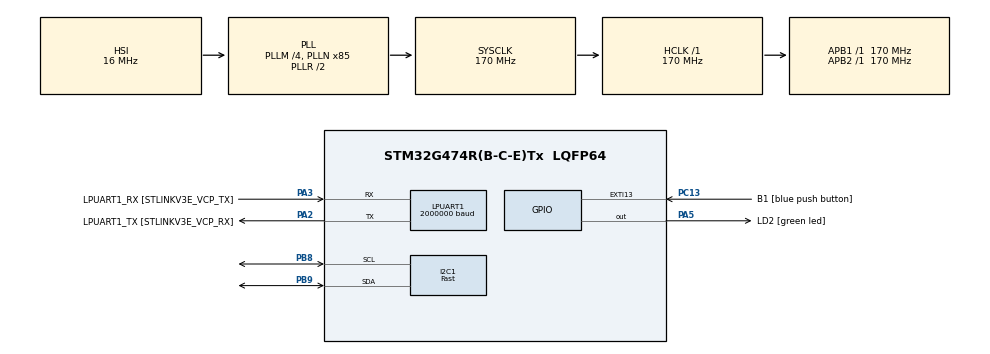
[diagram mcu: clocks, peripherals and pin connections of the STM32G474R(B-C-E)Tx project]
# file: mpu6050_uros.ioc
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Dma.LPUART1_RX.0.Direction=DMA_PERIPH_TO_MEMORY
Dma.LPUART1_RX.0.EventEnable=DISABLE
Dma.LPUART1_RX.0.Instance=DMA1_Channel1
Dma.LPUART1_RX.0.MemDataAlignment=DMA_MDATAALIGN_BYTE
Dma.LPUART1_RX.0.MemInc=DMA_MINC_ENABLE
Dma.LPUART1_RX.0.Mode=DMA_CIRCULAR
Dma.LPUART1_RX.0.PeriphDataAlignment=DMA_PDATAALIGN_BYTE
Dma.LPUART1_RX.0.PeriphInc=DMA_PINC_DISABLE
Dma.LPUART1_RX.0.Polarity=HAL_DMAMUX_REQ_GEN_RISING
Dma.LPUART1_RX.0.Priority=DMA_PRIORITY_VERY_HIGH
Dma.LPUART1_RX.0.RequestNumber=1
Dma.LPUART1_RX.0.SignalID=NONE
Dma.LPUART1_RX.0.SyncEnable=DISABLE
Dma.LPUART1_RX.0.SyncPolarity=HAL_DMAMUX_SYNC_NO_EVENT
Dma.LPUART1_RX.0.SyncRequestNumber=1
Dma.LPUART1_RX.0.SyncSignalID=NONE
Dma.LPUART1_TX.1.Direction=DMA_MEMORY_TO_PERIPH
Dma.LPUART1_TX.1.EventEnable=DISABLE
Dma.LPUART1_TX.1.Instance=DMA1_Channel2
Dma.LPUART1_TX.1.MemDataAlignment=DMA_MDATAALIGN_BYTE
Dma.LPUART1_TX.1.MemInc=DMA_MINC_ENABLE
Dma.LPUART1_TX.1.Mode=DMA_NORMAL
Dma.LPUART1_TX.1.PeriphDataAlignment=DMA_PDATAALIGN_BYTE
Dma.LPUART1_TX.1.PeriphInc=DMA_PINC_DISABLE
Dma.LPUART1_TX.1.Polarity=HAL_DMAMUX_REQ_GEN_RISING
Dma.LPUART1_TX.1.Priority=DMA_PRIORITY_VERY_HIGH
Dma.LPUART1_TX.1.RequestNumber=1
Dma.LPUART1_TX.1.SignalID=NONE
Dma.LPUART1_TX.1.SyncEnable=DISABLE
Dma.LPUART1_TX.1.SyncPolarity=HAL_DMAMUX_SYNC_NO_EVENT
Dma.LPUART1_TX.1.SyncRequestNumber=1
Dma.LPUART1_TX.1.SyncSignalID=NONE
Dma.Request0=LPUART1_RX
Dma.Request1=LPUART1_TX
FREERTOS.Tasks01=defaultTask,24,3000,StartDefaultTask,Default,NULL,Static,defaultTaskBuffer,defaultTaskControlBlock
FREERTOS.configENABLE_FPU=1
I2C1.I2C_Speed_Mode=I2C_Fast
I2C1.Timing=0x40621236
IWDG.Reload=2499
LPUART1.BaudRate=2000000
Mcu.Family=STM32G4
Mcu.Name=STM32G474R(B-C-E)Tx
Mcu.Package=LQFP64
NVIC.DMA1_Channel1_IRQn=true\:5\:0\:false\:false\:true\:true\:false\:true\:true
NVIC.DMA1_Channel2_IRQn=true\:5\:0\:false\:false\:true\:true\:false\:true\:true
NVIC.EXTI15_10_IRQn=true\:5\:0\:false\:false\:true\:true\:true\:true\:true
NVIC.LPUART1_IRQn=true\:5\:0\:false\:false\:true\:true\:true\:true\:true
NVIC.PriorityGroup=NVIC_PRIORITYGROUP_4
NVIC.TIM1_UP_TIM16_IRQn=true\:15\:0\:false\:false\:true\:false\:false\:true\:true
NVIC.TimeBase=TIM1_UP_TIM16_IRQn
NVIC.TimeBaseIP=TIM1
PA13.GPIO_Label=T_SWDIO
PA13.Signal=SYS_JTMS-SWDIO
PA14.GPIO_Label=T_SWCLK
PA14.Signal=SYS_JTCK-SWCLK
PA2.GPIO_Label=LPUART1_TX [STLINKV3E_VCP_RX]
PA2.Mode=Asynchronous
PA2.Signal=LPUART1_TX
PA3.GPIO_Label=LPUART1_RX [STLINKV3E_VCP_TX]
PA3.Mode=Asynchronous
PA3.Signal=LPUART1_RX
PA5.GPIO_Label=LD2 [green led]
PA5.Signal=GPIO_Output
PB3.GPIO_Label=T_SWO
PB3.Signal=SYS_JTDO-SWO
PB8-BOOT0.Mode=I2C
PB8-BOOT0.Signal=I2C1_SCL
PB9.Mode=I2C
PB9.Signal=I2C1_SDA
PC13.GPIO_Label=B1 [blue push button]
PC13.Signal=GPXTI13
PC14-OSC32_IN.GPIO_Label=RCC_OSC32_IN
PC14-OSC32_IN.Signal=RCC_OSC32_IN
PC15-OSC32_OUT.GPIO_Label=RCC_OSC32_OUT
PC15-OSC32_OUT.Signal=RCC_OSC32_OUT
PF0-OSC_IN.GPIO_Label=RCC_OSC_IN
PF0-OSC_IN.Signal=RCC_OSC_IN
PF1-OSC_OUT.GPIO_Label=RCC_OSC_OUT
PF1-OSC_OUT.Signal=RCC_OSC_OUT
ProjectManager.HeapSize=0x200
ProjectManager.StackSize=0x400
ProjectManager.TargetToolchain=STM32CubeIDE
RCC.ADC12Freq_Value=170000000
RCC.ADC345Freq_Value=170000000
RCC.AHBFreq_Value=170000000
RCC.APB1Freq_Value=170000000
RCC.APB1TimFreq_Value=170000000
RCC.APB2Freq_Value=170000000
RCC.APB2TimFreq_Value=170000000
RCC.CortexFreq_Value=170000000
RCC.EXTERNAL_CLOCK_VALUE=12288000
RCC.HCLKFreq_Value=170000000
RCC.HSE_VALUE=24000000
RCC.HSI48_VALUE=48000000
RCC.HSI_VALUE=16000000
RCC.LSE_VALUE=32768
RCC.PLLM=RCC_PLLM_DIV4
RCC.PLLN=85
RCC.RTCClockSelection=RCC_RTCCLKSOURCE_LSE
RCC.SYSCLKFreq_VALUE=170000000
RCC.SYSCLKSource=RCC_SYSCLKSOURCE_PLLCLK
RCC.USBFreq_Value=170000000
RCC.VCOOutputFreq_Value=340000000
VP_FREERTOS_VS_CMSIS_V2.Mode=CMSIS_V2
VP_IWDG_VS_IWDG.Mode=IWDG_Activate
VP_SYS_VS_DBSignals.Mode=DisableDeadBatterySignals
VP_SYS_VS_tim1.Mode=TIM1
board=NUCLEO-G474RE

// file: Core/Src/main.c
/* USER CODE BEGIN Header */
/**
  ******************************************************************************
  * @file           : main.c
  * @brief          : Main program body
  ******************************************************************************
  * @attention
  *
  * Copyright (c) 2024 STMicroelectronics.
  * All rights reserved.
  *
  * This software is licensed under terms that can be found in the LICENSE file
  * in the root directory of this software component.
  * If no LICENSE file comes with this software, it is provided AS-IS.
  *
  ******************************************************************************
  */
/* USER CODE END Header */
#include "main.h"
#include "cmsis_os.h"

/* USER CODE BEGIN Includes */
#include <rcl/rcl.h>
#include <rcl/error_handling.h>
#include <rclc/rclc.h>
#include <rclc/executor.h>
#include <uxr/client/transport.h>
#include <rmw_microxrcedds_c/config.h>
#include <rmw_microros/rmw_microros.h>
#include <micro_ros_utilities/string_utilities.h>
#include <math.h>

#include <imu_interfaces/srv/imu_calibration.h>
#include <sensor_msgs/msg/imu.h>
#include <geometry_msgs/msg/twist.h>
#include <std_srvs/srv/set_bool.h>
#include <mpu6050.h>
#include "KalmanSensorFusion.h"
/* USER CODE END Includes */

typedef StaticTask_t osStaticThreadDef_t;
/* USER CODE BEGIN PTD */
typedef struct{
	double x;
	double y;
	double z;
} offset3d_t;
/* USER CODE END PTD */

/* USER CODE BEGIN PD */
#define G2M_S2 9.81
#define DEG2RAD M_PI/180.0
/* USER CODE END PD */

/* USER CODE BEGIN PM */
#define RCSOFTCHECK(fn) if (fn != RCL_RET_OK) {};
/* USER CODE END PM */

I2C_HandleTypeDef hi2c1;

IWDG_HandleTypeDef hiwdg;

UART_HandleTypeDef hlpuart1;
DMA_HandleTypeDef hdma_lpuart1_rx;
DMA_HandleTypeDef hdma_lpuart1_tx;

/* Definitions for defaultTask */
osThreadId_t defaultTaskHandle;
uint32_t defaultTaskBuffer[ 3000 ];
osStaticThreadDef_t defaultTaskControlBlock;
const osThreadAttr_t defaultTask_attributes = {
  .name = "defaultTask",
  .stack_mem = &defaultTaskBuffer[0],
  .stack_size = sizeof(defaultTaskBuffer),
  .cb_mem = &defaultTaskControlBlock,
  .cb_size = sizeof(defaultTaskControlBlock),
  .priority = (osPriority_t) osPriorityNormal,
};
/* USER CODE BEGIN PV */
rclc_support_t support;
rcl_allocator_t allocator;
rcl_node_t node;
rcl_init_options_t init_options;
rclc_executor_t executor;

rcl_timer_t mpu6050_timer;
rcl_publisher_t mpu6050_publisher;
sensor_msgs__msg__Imu mpu6050_msg;

rcl_publisher_t cmdvel_publisher;
geometry_msgs__msg__Twist cmdvel_msg;

MPU6050_t MPU6050;

rcl_service_t mpu6050_service;
imu_interfaces__srv__ImuCalibration_Response mpu6050_response;
imu_interfaces__srv__ImuCalibration_Request mpu6050_request;

rcl_service_t imustatus_service;
std_srvs__srv__SetBool_Request imustatus_response;
std_srvs__srv__SetBool_Response imustatus_request;

offset3d_t accel_offset;
offset3d_t gyro_offset;

bool is_calib = false;

SensorFusion imu;
matrix_instance u;
matrix_instance y;
float U[2];
float Y[2];
float dt = 0.01;
float angle[2];
/* USER CODE END PV */

void SystemClock_Config(void);
static void MX_GPIO_Init(void);
static void MX_DMA_Init(void);
static void MX_LPUART1_UART_Init(void);
static void MX_I2C1_Init(void);
static void MX_IWDG_Init(void);
void StartDefaultTask(void *argument);

/* USER CODE BEGIN PFP */
void timer_callback(rcl_timer_t * timer, int64_t last_call_time);
/* USER CODE END PFP */

int main(void)
{

  /* MCU Configuration--------------------------------------------------------*/

  /* Reset of all peripherals, Initializes the Flash interface and the Systick. */
  HAL_Init();

  /* Configure the system clock */
  SystemClock_Config();

  /* Initialize all configured peripherals */
  MX_GPIO_Init();
  MX_DMA_Init();
  MX_LPUART1_UART_Init();
  MX_I2C1_Init();
  MX_IWDG_Init();
  /* USER CODE BEGIN 2 */
  while (MPU6050_Init(&hi2c1) == 1);
  /* USER CODE END 2 */

  /* Init scheduler */
  osKernelInitialize();

  /* Create the thread(s) */
  /* creation of defaultTask */
  defaultTaskHandle = osThreadNew(StartDefaultTask, NULL, &defaultTask_attributes);

  /* Start scheduler */
  osKernelStart();

  /* We should never get here as control is now taken by the scheduler */

  /* Infinite loop */
  while (1)
  {

  }
}

void SystemClock_Config(void)
{
  RCC_OscInitTypeDef RCC_OscInitStruct = {0};
  RCC_ClkInitTypeDef RCC_ClkInitStruct = {0};

  /** Configure the main internal regulator output voltage
  */
  HAL_PWREx_ControlVoltageScaling(PWR_REGULATOR_VOLTAGE_SCALE1_BOOST);

  /** Initializes the RCC Oscillators according to the specified parameters
  * in the RCC_OscInitTypeDef structure.
  */
  RCC_OscInitStruct.OscillatorType = RCC_OSCILLATORTYPE_HSI|RCC_OSCILLATORTYPE_LSI;
  RCC_OscInitStruct.HSIState = RCC_HSI_ON;
  RCC_OscInitStruct.HSICalibrationValue = RCC_HSICALIBRATION_DEFAULT;
  RCC_OscInitStruct.LSIState = RCC_LSI_ON;
  RCC_OscInitStruct.PLL.PLLState = RCC_PLL_ON;
  RCC_OscInitStruct.PLL.PLLSource = RCC_PLLSOURCE_HSI;
  RCC_OscInitStruct.PLL.PLLM = RCC_PLLM_DIV4;
  RCC_OscInitStruct.PLL.PLLN = 85;
  RCC_OscInitStruct.PLL.PLLP = RCC_PLLP_DIV2;
  RCC_OscInitStruct.PLL.PLLQ = RCC_PLLQ_DIV2;
  RCC_OscInitStruct.PLL.PLLR = RCC_PLLR_DIV2;
  if (HAL_RCC_OscConfig(&RCC_OscInitStruct) != HAL_OK)
  {
    Error_Handler();
  }

  /** Initializes the CPU, AHB and APB buses clocks
  */
  RCC_ClkInitStruct.ClockType = RCC_CLOCKTYPE_HCLK|RCC_CLOCKTYPE_SYSCLK
                              |RCC_CLOCKTYPE_PCLK1|RCC_CLOCKTYPE_PCLK2;
  RCC_ClkInitStruct.SYSCLKSource = RCC_SYSCLKSOURCE_PLLCLK;
  RCC_ClkInitStruct.AHBCLKDivider = RCC_SYSCLK_DIV1;
  RCC_ClkInitStruct.APB1CLKDivider = RCC_HCLK_DIV1;
  RCC_ClkInitStruct.APB2CLKDivider = RCC_HCLK_DIV1;

  if (HAL_RCC_ClockConfig(&RCC_ClkInitStruct, FLASH_LATENCY_4) != HAL_OK)
  {
    Error_Handler();
  }
}

static void MX_I2C1_Init(void)
{

  hi2c1.Instance = I2C1;
  hi2c1.Init.Timing = 0x40621236;
  hi2c1.Init.OwnAddress1 = 0;
  hi2c1.Init.AddressingMode = I2C_ADDRESSINGMODE_7BIT;
  hi2c1.Init.DualAddressMode = I2C_DUALADDRESS_DISABLE;
  hi2c1.Init.OwnAddress2 = 0;
  hi2c1.Init.OwnAddress2Masks = I2C_OA2_NOMASK;
  hi2c1.Init.GeneralCallMode = I2C_GENERALCALL_DISABLE;
  hi2c1.Init.NoStretchMode = I2C_NOSTRETCH_DISABLE;
  if (HAL_I2C_Init(&hi2c1) != HAL_OK)
  {
    Error_Handler();
  }

  /** Configure Analogue filter
  */
  if (HAL_I2CEx_ConfigAnalogFilter(&hi2c1, I2C_ANALOGFILTER_ENABLE) != HAL_OK)
  {
    Error_Handler();
  }

  /** Configure Digital filter
  */
  if (HAL_I2CEx_ConfigDigitalFilter(&hi2c1, 0) != HAL_OK)
  {
    Error_Handler();
  }

}

static void MX_IWDG_Init(void)
{

  hiwdg.Instance = IWDG;
  hiwdg.Init.Prescaler = IWDG_PRESCALER_4;
  hiwdg.Init.Window = 4095;
  hiwdg.Init.Reload = 2499;
  if (HAL_IWDG_Init(&hiwdg) != HAL_OK)
  {
    Error_Handler();
  }

}

static void MX_LPUART1_UART_Init(void)
{

  hlpuart1.Instance = LPUART1;
  hlpuart1.Init.BaudRate = 2000000;
  hlpuart1.Init.WordLength = UART_WORDLENGTH_8B;
  hlpuart1.Init.StopBits = UART_STOPBITS_1;
  hlpuart1.Init.Parity = UART_PARITY_NONE;
  hlpuart1.Init.Mode = UART_MODE_TX_RX;
  hlpuart1.Init.HwFlowCtl = UART_HWCONTROL_NONE;
  hlpuart1.Init.OneBitSampling = UART_ONE_BIT_SAMPLE_DISABLE;
  hlpuart1.Init.ClockPrescaler = UART_PRESCALER_DIV1;
  hlpuart1.AdvancedInit.AdvFeatureInit = UART_ADVFEATURE_NO_INIT;
  if (HAL_UART_Init(&hlpuart1) != HAL_OK)
  {
    Error_Handler();
  }
  if (HAL_UARTEx_SetTxFifoThreshold(&hlpuart1, UART_TXFIFO_THRESHOLD_1_8) != HAL_OK)
  {
    Error_Handler();
  }
  if (HAL_UARTEx_SetRxFifoThreshold(&hlpuart1, UART_RXFIFO_THRESHOLD_1_8) != HAL_OK)
  {
    Error_Handler();
  }
  if (HAL_UARTEx_DisableFifoMode(&hlpuart1) != HAL_OK)
  {
    Error_Handler();
  }

}

static void MX_DMA_Init(void)
{

  /* DMA controller clock enable */
  __HAL_RCC_DMAMUX1_CLK_ENABLE();
  __HAL_RCC_DMA1_CLK_ENABLE();

  /* DMA interrupt init */
  /* DMA1_Channel1_IRQn interrupt configuration */
  HAL_NVIC_SetPriority(DMA1_Channel1_IRQn, 5, 0);
  HAL_NVIC_EnableIRQ(DMA1_Channel1_IRQn);
  /* DMA1_Channel2_IRQn interrupt configuration */
  HAL_NVIC_SetPriority(DMA1_Channel2_IRQn, 5, 0);
  HAL_NVIC_EnableIRQ(DMA1_Channel2_IRQn);

}

static void MX_GPIO_Init(void)
{
  GPIO_InitTypeDef GPIO_InitStruct = {0};

  /* GPIO Ports Clock Enable */
  __HAL_RCC_GPIOC_CLK_ENABLE();
  __HAL_RCC_GPIOF_CLK_ENABLE();
  __HAL_RCC_GPIOA_CLK_ENABLE();
  __HAL_RCC_GPIOB_CLK_ENABLE();

  /*Configure GPIO pin Output Level */
  HAL_GPIO_WritePin(LD2_GPIO_Port, LD2_Pin, GPIO_PIN_RESET);

  /*Configure GPIO pin : B1_Pin */
  GPIO_InitStruct.Pin = B1_Pin;
  GPIO_InitStruct.Mode = GPIO_MODE_IT_RISING;
  GPIO_InitStruct.Pull = GPIO_NOPULL;
  HAL_GPIO_Init(B1_GPIO_Port, &GPIO_InitStruct);

  /*Configure GPIO pin : LD2_Pin */
  GPIO_InitStruct.Pin = LD2_Pin;
  GPIO_InitStruct.Mode = GPIO_MODE_OUTPUT_PP;
  GPIO_InitStruct.Pull = GPIO_NOPULL;
  GPIO_InitStruct.Speed = GPIO_SPEED_FREQ_LOW;
  HAL_GPIO_Init(LD2_GPIO_Port, &GPIO_InitStruct);

  /* EXTI interrupt init*/
  HAL_NVIC_SetPriority(EXTI15_10_IRQn, 5, 0);
  HAL_NVIC_EnableIRQ(EXTI15_10_IRQn);

}

/* USER CODE BEGIN 4 */
bool cubemx_transport_open(struct uxrCustomTransport * transport);
bool cubemx_transport_close(struct uxrCustomTransport * transport);
size_t cubemx_transport_write(struct uxrCustomTransport* transport, const uint8_t * buf, size_t len, uint8_t * err);
size_t cubemx_transport_read(struct uxrCustomTransport* transport, uint8_t* buf, size_t len, int timeout, uint8_t* err);

void * microros_allocate(size_t size, void * state);
void microros_deallocate(void * pointer, void * state);
void * microros_reallocate(void * pointer, size_t size, void * state);
void * microros_zero_allocate(size_t number_of_elements, size_t size_of_element, void * state);

void timer_callback(rcl_timer_t * timer, int64_t last_call_time)
{
	HAL_IWDG_Refresh(&hiwdg);
	if (timer != NULL) {
		static float temp = 0;
		MPU6050_Read_All(&hi2c1, &MPU6050);

		mpu6050_msg.header.stamp.sec = rmw_uros_epoch_millis()/1000;
		mpu6050_msg.header.stamp.nanosec = rmw_uros_epoch_nanos();

		mpu6050_msg.linear_acceleration.x = (G2M_S2 * MPU6050.Ax) - accel_offset.x;
		mpu6050_msg.linear_acceleration.y = (G2M_S2 * MPU6050.Ay) - accel_offset.y;
		mpu6050_msg.linear_acceleration.z = (G2M_S2 * MPU6050.Az) - accel_offset.z;
		mpu6050_msg.angular_velocity.x = (DEG2RAD * MPU6050.Gx) - gyro_offset.x;
		mpu6050_msg.angular_velocity.y = (DEG2RAD * MPU6050.Gy) - gyro_offset.y;
		mpu6050_msg.angular_velocity.z = (DEG2RAD * MPU6050.Gz) - gyro_offset.z;

		RCSOFTCHECK(rcl_publish(&mpu6050_publisher, &mpu6050_msg, NULL));

		U[0] = mpu6050_msg.angular_velocity.x;
		U[1] = mpu6050_msg.angular_velocity.y;
		Y[0] = atan2(mpu6050_msg.linear_acceleration.y, mpu6050_msg.linear_acceleration.z);
		temp = sqrt(pow(mpu6050_msg.linear_acceleration.y, 2)+pow(mpu6050_msg.linear_acceleration.z, 2));
		Y[1] = atan2(-mpu6050_msg.linear_acceleration.x, temp);
		init_matrix(&u, 2, 1, U);
		init_matrix(&y, 2, 1, Y);
		sensor_fusion(&imu, &u, &y);
		angle[0] = imu.Xc.data[0][0];
		angle[1] = imu.Xc.data[1][0];

		cmdvel_msg.linear.x = angle[1];
		cmdvel_msg.angular.z = -angle[0];

		RCSOFTCHECK(rcl_publish(&cmdvel_publisher, &cmdvel_msg, NULL));
	}
}

void service_callback(const void * request_msg, void * response_msg)
{
	  imu_interfaces__srv__ImuCalibration_Request * req_in = (imu_interfaces__srv__ImuCalibration_Request *) request_msg;
	  imu_interfaces__srv__ImuCalibration_Response * res_in = (imu_interfaces__srv__ImuCalibration_Response *) response_msg;

	  for(int i = 0; i < 9; i++){
		  mpu6050_msg.linear_acceleration_covariance[i] = req_in->imu_calib.linear_acceleration_covariance[i];
		  mpu6050_msg.angular_velocity_covariance[i] = req_in->imu_calib.angular_velocity_covariance[i];
	  }

	  accel_offset.x = req_in->imu_calib.linear_acceleration.x;
	  accel_offset.y = req_in->imu_calib.linear_acceleration.y;
	  accel_offset.z = req_in->imu_calib.linear_acceleration.z;

	  gyro_offset.x = req_in->imu_calib.angular_velocity.x;
	  gyro_offset.y = req_in->imu_calib.angular_velocity.y;
	  gyro_offset.z = req_in->imu_calib.angular_velocity.z;

	  is_calib = true;
	  InitSensorFusion(&imu, mpu6050_msg.angular_velocity_covariance, mpu6050_msg.linear_acceleration_covariance, dt);
	  HAL_GPIO_TogglePin(LD2_GPIO_Port, LD2_Pin);
	  res_in->success = true;
}

void imu_service_callback(const void * request_msg, void * response_msg)
{
	  std_srvs__srv__SetBool_Request * req_in = (std_srvs__srv__SetBool_Request *) request_msg;
	  std_srvs__srv__SetBool_Response * res_in = (std_srvs__srv__SetBool_Response *) response_msg;

	  if (req_in->data){
		  if (HAL_I2C_GetError(&hi2c1) == HAL_I2C_ERROR_NONE){
			  res_in->success = true;
			  res_in->message.data = "Imu is connected";
		  }
		  else {
			  res_in->success = false;
			  res_in->message.data = "Imu is not connect";
			  HAL_I2C_DeInit(&hi2c1);
			  HAL_I2C_Init(&hi2c1);
			  MPU6050_Init(&hi2c1);
		  }
	  }
	  else {
		  res_in->success = false;
		  res_in->message.data = "Request is False";
	  }
}
/* USER CODE END 4 */

void StartDefaultTask(void *argument)
{
  /* USER CODE BEGIN 5 */

	// micro-ROS configuration

	  rmw_uros_set_custom_transport(
	    true,
	    (void *) &hlpuart1,
	    cubemx_transport_open,
	    cubemx_transport_close,
	    cubemx_transport_write,
	    cubemx_transport_read);

	  rcl_allocator_t freeRTOS_allocator = rcutils_get_zero_initialized_allocator();
	  freeRTOS_allocator.allocate = microros_allocate;
	  freeRTOS_allocator.deallocate = microros_deallocate;
	  freeRTOS_allocator.reallocate = microros_reallocate;
	  freeRTOS_allocator.zero_allocate =  microros_zero_allocate;

	  if (!rcutils_set_default_allocator(&freeRTOS_allocator)) {
	      printf("Error on default allocators (line %d)\n", __LINE__);
	  }

	  GPIO_PinState button = HAL_GPIO_ReadPin(B1_GPIO_Port, B1_Pin);
	  uint8_t executor_num = 2;

	  // micro-ROS app

	  // Initialize micro-ROS allocator
	  allocator = rcl_get_default_allocator();

	  //create init_options
	  // Initialize and modify options (Set DOMAIN ID to 1)
	  init_options = rcl_get_zero_initialized_init_options();
	  RCSOFTCHECK(rcl_init_options_init(&init_options, allocator));
	  RCSOFTCHECK(rcl_init_options_set_domain_id(&init_options, 1));
	  // Initialize rclc support object with custom options
	  rclc_support_init_with_options(&support, 0, NULL, &init_options, &allocator);

	  // create node
	  rclc_node_init_default(&node, "cubemx_node", "", &support);

	  //time sync
	  rmw_uros_sync_session(1000);

	  //create timer
	  rclc_timer_init_default(&mpu6050_timer, &support, RCL_MS_TO_NS(10), timer_callback);

	  //create publisher
	  rclc_publisher_init_default(
			  &mpu6050_publisher,
			  &node,
			  ROSIDL_GET_MSG_TYPE_SUPPORT(sensor_msgs, msg, Imu),
			  "mpu6050_publisher"
	  );
	  rclc_publisher_init_default(
			  &cmdvel_publisher,
			  &node,
			  ROSIDL_GET_MSG_TYPE_SUPPORT(geometry_msgs, msg, Twist),
			  "cmd_vel"
	  );

	  //create service
	  if(button == GPIO_PIN_RESET){
		  rclc_service_init_default(
				  &mpu6050_service,
				  &node,
				  ROSIDL_GET_SRV_TYPE_SUPPORT(imu_interfaces, srv, ImuCalibration),
				  "mpu6050_calibration"
		  );
		  executor_num++;
	  }
	  else {
		  is_calib = true;
		  InitSensorFusion(&imu, mpu6050_msg.angular_velocity_covariance, mpu6050_msg.linear_acceleration_covariance, dt);
	  }

	  rclc_service_init_default(
			  &imustatus_service,
			  &node,
			  ROSIDL_GET_SRV_TYPE_SUPPORT(std_srvs, srv, SetBool),
			  "imu/status"
	  );

	  //create executer
	  executor = rclc_executor_get_zero_initialized_executor();
	  rclc_executor_init(&executor, &support.context, executor_num, &allocator);
	  rclc_executor_add_timer(&executor, &mpu6050_timer);
	  if(button == GPIO_PIN_RESET) rclc_executor_add_service(&executor, &mpu6050_service, &mpu6050_request, &mpu6050_response, service_callback);
	  rclc_executor_add_service(&executor, &imustatus_service, &imustatus_request, &imustatus_response, imu_service_callback);
	  rclc_executor_spin(&executor);

	  //create message
	  mpu6050_msg.header.frame_id = micro_ros_string_utilities_init("imu_frame");

	  for(;;)
	  {
		osDelay(10);
	  }
  /* USER CODE END 5 */
}

void HAL_TIM_PeriodElapsedCallback(TIM_HandleTypeDef *htim)
{
  if (htim->Instance == TIM1) {
    HAL_IncTick();
  }
}

void Error_Handler(void)
{
  __disable_irq();
  while (1)
  {
  }
}
